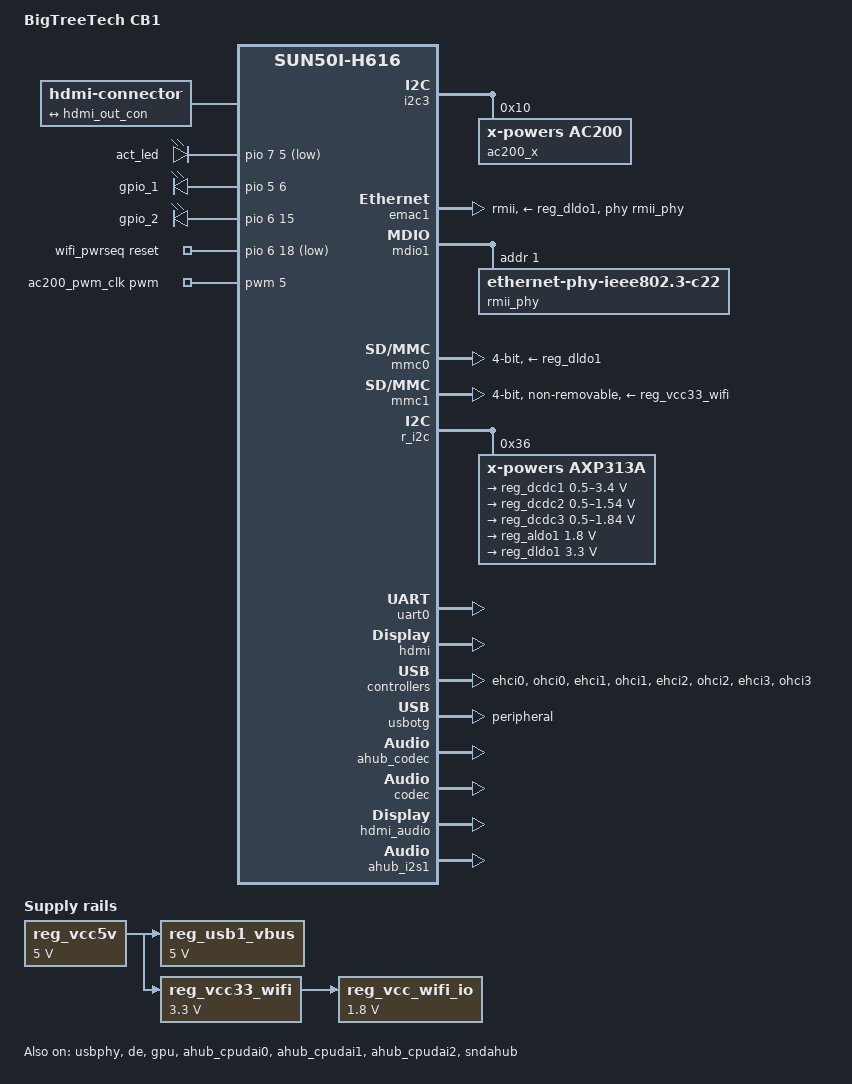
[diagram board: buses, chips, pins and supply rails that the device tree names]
// SPDX-License-Identifier: (GPL-2.0+ or MIT)
/*
 * Copyright (C) 2023 Alan.Ma <tech@biqu3d.com>.
 */

/dts-v1/;

#include "sun50i-h616.dtsi"

#include <dt-bindings/gpio/gpio.h>
#include <dt-bindings/interrupt-controller/arm-gic.h>
#include <dt-bindings/leds/common.h>

/ {
	model = "BigTreeTech CB1";
	compatible = "bigtreetech,cb1", "allwinner,sun50i-h616";

	aliases {
		ethernet0 = &emac1;
		serial0 = &uart0;
	};

	chosen {
		stdout-path = "serial0:115200n8";
	};
	
	connector {
		compatible = "hdmi-connector";
		type = "d";

		port {
			hdmi_con_in: endpoint {
				remote-endpoint = <&hdmi_out_con>;
			};
		};
	};
	
	leds {
		compatible = "gpio-leds";

		act_led: led-0 {
			gpios = <&pio 7 5 GPIO_ACTIVE_LOW>; /* PH5 */
			linux,default-trigger = "mmc0";
		};

		gpio_1 {
			function = "wifi_power";
			gpios = <&pio 5 6 GPIO_ACTIVE_HIGH>; /* PF6 */
			default-state = "on";
		};

		gpio_2 {
			function = "wifi_wake";
			gpios = <&pio 6 15 GPIO_ACTIVE_HIGH>; /* PG15 */
			default-state = "on";
		};
	};

	reg_vcc5v: regulator-vcc5v {
		/* board wide 5V supply directly from the USB-C socket */
		compatible = "regulator-fixed";
		regulator-name = "vcc-5v";
		regulator-min-microvolt = <5000000>;
		regulator-max-microvolt = <5000000>;
		regulator-always-on;
	};

	reg_usb1_vbus: regulator-usb1-vbus {
		compatible = "regulator-fixed";
		regulator-name = "usb1-vbus";
		regulator-min-microvolt = <5000000>;
		regulator-max-microvolt = <5000000>;
		vin-supply = <&reg_vcc5v>;
		enable-active-high;
		// gpio = <&pio 2 16 GPIO_ACTIVE_HIGH>; /* PC16 */
	};
	
	reg_vcc33_wifi: vcc33-wifi {
		/* Always on 3.3V regulator for WiFi and BT */
		compatible = "regulator-fixed";
		regulator-name = "vcc33-wifi";
		regulator-min-microvolt = <3300000>;
		regulator-max-microvolt = <3300000>;
		regulator-always-on;
		vin-supply = <&reg_vcc5v>;
	};
	
	reg_vcc_wifi_io: vcc-wifi-io {
		/* Always on 1.8V/300mA regulator for WiFi and BT IO */
		compatible = "regulator-fixed";
		regulator-name = "vcc-wifi-io";
		regulator-min-microvolt = <1800000>;
		regulator-max-microvolt = <1800000>;
		regulator-always-on;
		vin-supply = <&reg_vcc33_wifi>;
	};

	wifi_pwrseq: wifi-pwrseq {
		compatible = "mmc-pwrseq-simple";
		clocks = <&rtc 1>;
		clock-names = "osc32k-out";
		reset-gpios = <&pio 6 18 GPIO_ACTIVE_LOW>;  /* PG18 */
		post-power-on-delay-ms = <200>;
	};

	ac200_pwm_clk: ac200_clk {
		compatible = "pwm-clock";
		#clock-cells = <0>;
		// pwm5 period_ns = 500 > 334 for select 24M clock.
		pwms = <&pwm 5 500 0>;
		clock-frequency = <2000000>;
		status = "okay";
	};
};

&pwm5 {
	// clk_bypass_output = 1 for Clock direct output without frequency division
	// so pwm5 output is 24MHz for AC200 & AC300 clock
	clk_bypass_output = <0x1>;
};

&i2c3 {
	status = "okay";
	pinctrl-names = "default";
	pinctrl-0 = <&twi3_pins>;

	ac200_x: mfd@10 {
		compatible = "x-powers,ac200";
		reg = <0x10>;
		clocks = <&ac200_pwm_clk>;
		// ephy id
		nvmem-cells = <&ephy_calibration>;
		nvmem-cell-names = "calibration";

		ac200_ephy: phy {
			compatible = "x-powers,ac200-ephy";
			status = "okay";
		};
	};
};

&emac1 {
	pinctrl-names = "default";
	pinctrl-0 = <&rmii_pins>;
	phy-mode = "rmii";
	phy-handle = <&rmii_phy>;
	phy-supply = <&reg_dldo1>;
	allwinner,rx-delay-ps = <3100>;
	allwinner,tx-delay-ps = <700>;
	status = "okay";
};

&mdio1 {
	rmii_phy: ethernet-phy@1 {
		compatible = "ethernet-phy-ieee802.3-c22";
		reg = <1>;
	};
};

&mmc0 {
	vmmc-supply = <&reg_dldo1>;
	broken-cd;
	bus-width = <4>;
	max-frequency = <50000000>;
	status = "okay";
};

&mmc1 {
	vmmc-supply = <&reg_vcc33_wifi>;
	vqmmc-supply = <&reg_vcc_wifi_io>;
	mmc-pwrseq = <&wifi_pwrseq>;
	bus-width = <4>;
	max-frequency = <25000000>;
	non-removable;
	mmc-ddr-1_8v;
	status = "okay";
};

&r_i2c {
	status = "okay";

	axp313a: pmic@36 {
		compatible = "x-powers,axp313a";
		reg = <0x36>;
		wakeup-source;

		regulators{
			reg_dcdc1: dcdc1 {
				regulator-name = "axp313a-dcdc1";
				regulator-min-microvolt = <500000>;
				regulator-max-microvolt = <3400000>;
				regulator-step-delay-us = <25>;
				regulator-final-delay-us = <50>;
				regulator-always-on;
			};

			reg_dcdc2: dcdc2 {
				regulator-name = "axp313a-dcdc2";
				regulator-min-microvolt = <500000>;
				regulator-max-microvolt = <1540000>;
				regulator-step-delay-us = <25>;
				regulator-final-delay-us = <50>;
				regulator-ramp-delay = <200>;
				regulator-always-on;
			};

			reg_dcdc3: dcdc3 {
				regulator-name = "axp313a-dcdc3";
				regulator-min-microvolt = <500000>;
				regulator-max-microvolt = <1840000>;
				regulator-step-delay-us = <25>;
				regulator-final-delay-us = <50>;
				regulator-always-on;
			};

			reg_aldo1: ldo1 {
				regulator-name = "axp313a-aldo1";
				regulator-min-microvolt = <1800000>;
				regulator-max-microvolt = <1800000>;
				regulator-step-delay-us = <25>;
				regulator-final-delay-us = <50>;
				regulator-always-on;
			};

			reg_dldo1: ldo2 {
				regulator-name = "axp313a-dldo1";
				regulator-min-microvolt = <3300000>;
				regulator-max-microvolt = <3300000>;
				regulator-step-delay-us = <25>;
				regulator-final-delay-us = <50>;
				regulator-always-on;
			};
		};
	};
};

&uart0 {
	pinctrl-names = "default";
	pinctrl-0 = <&uart0_ph_pins>;
	status = "okay";
};

&usbphy {
	usb1_vbus-supply = <&reg_usb1_vbus>;
	status = "okay";
};

&de {
	status = "okay";
};

&hdmi {
	hvcc-supply = <&reg_aldo1>;
	status = "okay";
};

&hdmi_out {
	hdmi_out_con: endpoint {
		remote-endpoint = <&hdmi_con_in>;
	};
};

&gpu {
	mali-supply = <&reg_dcdc3>;
	status = "okay";
};

&ehci0 {
	status = "okay";
};

&ohci0 {
	status = "okay";
};

&ehci1 {
	status = "okay";
};

&ohci1 {
	status = "okay";
};

&ehci2 {
	status = "okay";
};

&ohci2 {
	status = "okay";
};

&ehci3 {
	status = "okay";
};

&ohci3 {
	status = "okay";
};

&usbotg {
	/*
	 * PHY0 pins are connected to a USB-C socket, but a role switch
	 * is not implemented: both CC pins are pulled to GND.
	 * The VBUS pins power the device, so a fixed peripheral mode
	 * is the best choice.
	 * The board can be powered via GPIOs, in this case port0 *can*
	 * act as a host (with a cable/adapter ignoring CC), as VBUS is
	 * then provided by the GPIOs. Any user of this setup would
	 * need to adjust the DT accordingly: dr_mode set to "host",
	 * enabling OHCI0 and EHCI0.
	 */
	dr_mode = "peripheral";
	status = "okay";
};

&ahub_codec {
	status = "okay";
};

&cpu0 {
	cpu-supply = <&reg_dcdc2>;
};

&ahub_cpudai0 {
	status = "okay";
};

&ahub_cpudai1 {
	status = "okay";
};

&ahub_cpudai2 {
	status = "okay";
};

&sndahub {
	status = "okay";
};

&codec {
	allwinner,audio-routing =
		"Line Out", "LINEOUT";
	status = "okay";
};

&hdmi_audio {
	status = "okay";
};

&ahub_i2s1 {
	status = "okay";
};
